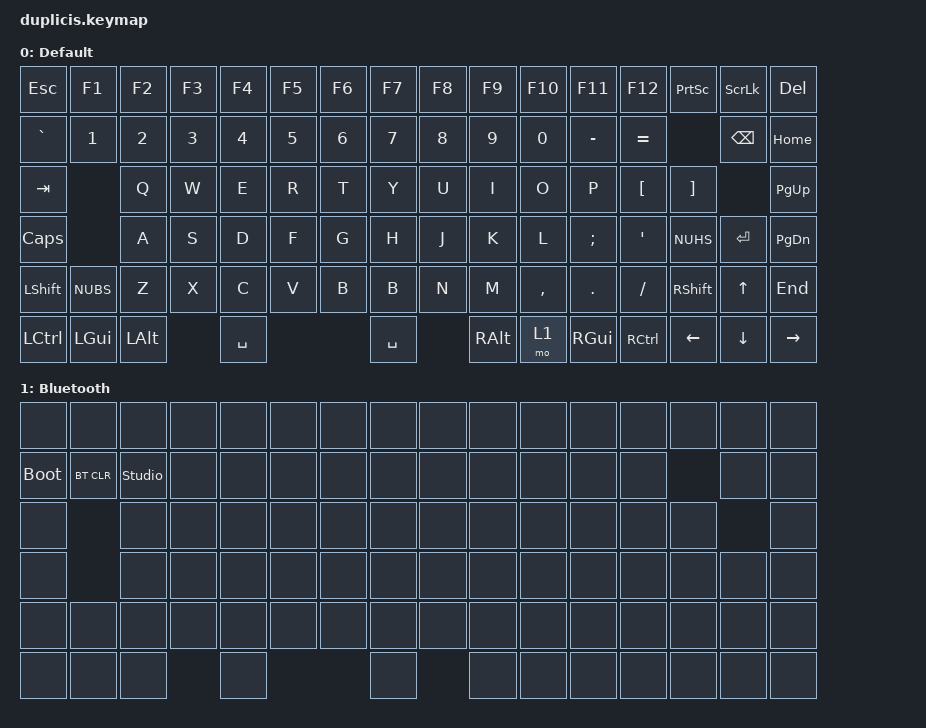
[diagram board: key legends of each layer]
#include <behaviors.dtsi>
#include <dt-bindings/zmk/keys.h>
#include <dt-bindings/zmk/bt.h>

#define DEFAULT 0
#define MEDIA 1
#define BLUETOOTH 2

/ {
    keymap {
        compatible = "zmk,keymap";

        default_layer {
            display-name = "Default";
            bindings = <
                &kp ESC    &kp F1   &kp F2   &kp F3 &kp F4    &kp F5 &kp F6 &kp F7    &kp F8 &kp F9   &kp F10   &kp F11   &kp F12   &kp PSCRN  &kp SLCK  &kp DEL
                &kp GRAVE  &kp N1   &kp N2   &kp N3 &kp N4    &kp N5 &kp N6 &kp N7    &kp N8 &kp N9   &kp N0    &kp MINUS &kp EQUAL            &kp BSPC  &kp HOME
                &kp TAB             &kp Q    &kp W  &kp E     &kp R  &kp T  &kp Y     &kp U  &kp I    &kp O     &kp P     &kp LBKT  &kp RBKT             &kp PG_UP
                &kp CLCK            &kp A    &kp S  &kp D     &kp F  &kp G  &kp H     &kp J  &kp K    &kp L     &kp SEMI  &kp SQT   &kp NUHS   &kp ENTER &kp PG_DN
                &kp LSHIFT &kp NUBS &kp Z    &kp X  &kp C     &kp V  &kp B  &kp B     &kp N  &kp M    &kp COMMA &kp DOT   &kp SLASH &kp RSHIFT &kp UP    &kp END
                &kp LCTRL  &kp LGUI &kp LALT        &kp SPACE               &kp SPACE        &kp RALT &mo 1     &kp RGUI  &kp RCTRL &kp LEFT   &kp DOWN  &kp RIGHT 
            >;
        };

        bt_layer {
            display-name = "Bluetooth";
            bindings = <
                &none       &none      &none          &none &none &none &none &none &none &none &none     &none     &none &none &none &none
                &bootloader &bt BT_CLR &studio_unlock &none &none &none &none &none &none &none &none     &none     &none       &none &none
                &none                  &none          &none &none &none &none &none &none &none &none     &none     &none &none       &none
                &none                  &none          &none &none &none &none &none &none &none &none     &none     &none &none &none &none
                &none       &none      &none          &none &none &none &none &none &none &none &none     &none     &none &none &none &none
                &none       &none      &none          &none             &none       &none &none &none     &none     &none &none &none
            >;
        };

        

        

        

       

    };
};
